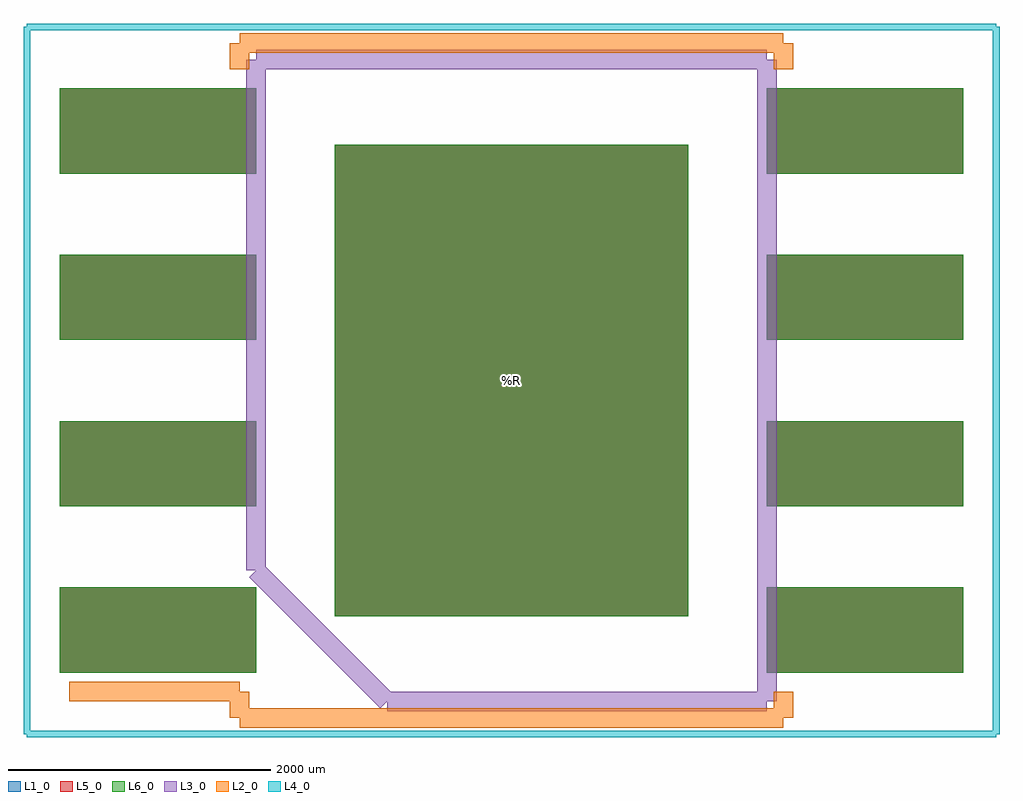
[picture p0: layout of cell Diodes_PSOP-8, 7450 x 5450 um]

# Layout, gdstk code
import gdstk
lib = gdstk.Library(unit=1e-6, precision=1e-09)
def R(c, l, rs):  # rectangles x0, y0, x1, y1
    for r in rs: c.add(gdstk.rectangle(r[:2], r[2:], *l))
def A(c, l, x, y, w, h, nx, ny, dx, dy):  # array of equal rectangles
    R(c, l, [(x+i*dx, y+j*dy, x+i*dx+w, y+j*dy+h) for i in range(nx) for j in range(ny)])
L1_0 = (1, 0)
L2_0 = (2, 0)
L3_0 = (3, 0)
L4_0 = (4, 0)
L5_0 = (5, 0)
L6_0 = (6, 0)

diodes_psop_8 = lib.new_cell('Diodes_PSOP-8')
A(diodes_psop_8, L1_0, -3450, -2230, 1500, 650, 1, 4, 0, 1270)
A(diodes_psop_8, L1_0, 1950, -2230, 1500, 650, 1, 4, 0, 1270)
R(diodes_psop_8, L1_0, [(-1350,-1800,0,0), (0,-1800,1350,0), (-1350,0,0,1800), (0,0,1350,1800)])
A(diodes_psop_8, L5_0, -3450, -2230, 1500, 650, 1, 4, 0, 1270)
A(diodes_psop_8, L5_0, 1950, -2230, 1500, 650, 1, 4, 0, 1270)
R(diodes_psop_8, L5_0, [(-1350,-1800,0,0), (0,-1800,1350,0), (-1350,0,0,1800), (0,0,1350,1800)])
A(diodes_psop_8, L6_0, -3450, -2230, 1500, 650, 1, 4, 0, 1270)
A(diodes_psop_8, L6_0, 1950, -2230, 1500, 650, 1, 4, 0, 1270)
R(diodes_psop_8, L6_0, [(-1350,-1800,0,0), (0,-1800,1350,0), (-1350,0,0,1800), (0,0,1350,1800)])
diodes_psop_8.add(gdstk.FlexPath([(-950,-2450),(1950,-2450)], 150, ends="flush", simple_path=True, layer=3, datatype=0))  # L3_0
diodes_psop_8.add(gdstk.FlexPath([(1950,-2450),(1950,2450)], 150, ends="flush", simple_path=True, layer=3, datatype=0))  # L3_0
diodes_psop_8.add(gdstk.FlexPath([(1950,2450),(-1950,2450)], 150, ends="flush", simple_path=True, layer=3, datatype=0))  # L3_0
diodes_psop_8.add(gdstk.FlexPath([(-1950,2450),(-1950,-1450)], 150, ends="flush", simple_path=True, layer=3, datatype=0))  # L3_0
diodes_psop_8.add(gdstk.FlexPath([(-1950,-1450),(-950,-2450)], 150, ends="flush", simple_path=True, layer=3, datatype=0))  # L3_0
diodes_psop_8.add(gdstk.FlexPath([(-3700,-2700),(-3700,2700)], 50, ends="flush", simple_path=True, layer=4, datatype=0))  # L4_0
diodes_psop_8.add(gdstk.FlexPath([(3700,-2700),(3700,2700)], 50, ends="flush", simple_path=True, layer=4, datatype=0))  # L4_0
diodes_psop_8.add(gdstk.FlexPath([(-3700,-2700),(3700,-2700)], 50, ends="flush", simple_path=True, layer=4, datatype=0))  # L4_0
diodes_psop_8.add(gdstk.FlexPath([(-3700,2700),(3700,2700)], 50, ends="flush", simple_path=True, layer=4, datatype=0))  # L4_0
diodes_psop_8.add(gdstk.FlexPath([(-2075,-2575),(-2075,-2375)], 150, ends="flush", simple_path=True, layer=2, datatype=0))  # L2_0
diodes_psop_8.add(gdstk.FlexPath([(2075,-2575),(2075,-2375)], 150, ends="flush", simple_path=True, layer=2, datatype=0))  # L2_0
diodes_psop_8.add(gdstk.FlexPath([(2075,2575),(2075,2375)], 150, ends="flush", simple_path=True, layer=2, datatype=0))  # L2_0
diodes_psop_8.add(gdstk.FlexPath([(-2075,2575),(-2075,2375)], 150, ends="flush", simple_path=True, layer=2, datatype=0))  # L2_0
diodes_psop_8.add(gdstk.FlexPath([(-2075,-2575),(2075,-2575)], 150, ends="flush", simple_path=True, layer=2, datatype=0))  # L2_0
diodes_psop_8.add(gdstk.FlexPath([(-2075,2575),(2075,2575)], 150, ends="flush", simple_path=True, layer=2, datatype=0))  # L2_0
diodes_psop_8.add(gdstk.FlexPath([(-2075,-2375),(-3375,-2375)], 150, ends="flush", simple_path=True, layer=2, datatype=0))  # L2_0
diodes_psop_8.add(gdstk.Label('REF**', (0,-3300), layer=2, texttype=0))
diodes_psop_8.add(gdstk.Label('Diodes_PSOP-8', (0,3400), layer=3, texttype=0))
diodes_psop_8.add(gdstk.Label('%R', (0,0), layer=3, texttype=0))

lib.write_gds('Diodes_PSOP-8.gds')
